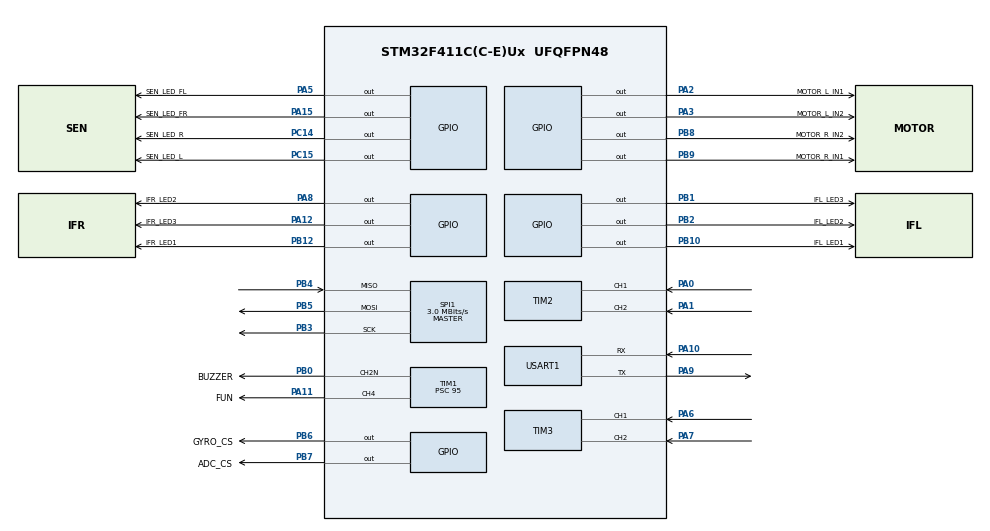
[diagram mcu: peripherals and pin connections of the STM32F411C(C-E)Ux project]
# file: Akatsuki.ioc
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Mcu.Family=STM32F4
Mcu.Name=STM32F411C(C-E)Ux
Mcu.Package=UFQFPN48
NVIC.PriorityGroup=NVIC_PRIORITYGROUP_4
NVIC.TIM1_UP_TIM10_IRQn=true\:0\:0\:false\:false\:true\:true\:true\:true
NVIC.TIM5_IRQn=true\:1\:0\:true\:false\:true\:true\:true\:true
PA0-WKUP.Signal=S_TIM2_CH1_ETR
PA1.Signal=S_TIM2_CH2
PA10.Mode=Asynchronous
PA10.Signal=USART1_RX
PA11.GPIO_Label=FUN
PA11.Signal=S_TIM1_CH4
PA12.GPIO_Label=IFR_LED3
PA12.Signal=GPIO_Output
PA13.Mode=Serial_Wire
PA13.Signal=SYS_JTMS-SWDIO
PA14.Mode=Serial_Wire
PA14.Signal=SYS_JTCK-SWCLK
PA15.GPIO_Label=SEN_LED_FR
PA15.GPIO_Speed=GPIO_SPEED_FREQ_HIGH
PA15.Signal=GPIO_Output
PA2.GPIO_Label=MOTOR_L_IN1
PA2.Signal=GPIO_Output
PA3.GPIO_Label=MOTOR_L_IN2
PA3.Signal=GPIO_Output
PA5.GPIO_Label=SEN_LED_FL
PA5.GPIO_Speed=GPIO_SPEED_FREQ_HIGH
PA5.Signal=GPIO_Output
PA6.Signal=S_TIM3_CH1
PA7.Signal=S_TIM3_CH2
PA8.GPIO_Label=IFR_LED2
PA8.Signal=GPIO_Output
PA9.Mode=Asynchronous
PA9.Signal=USART1_TX
PB0.GPIO_Label=BUZZER
PB0.Mode=PWM Generation2 CH2N
PB0.Signal=TIM1_CH2N
PB1.GPIO_Label=IFL_LED3
PB1.Signal=GPIO_Output
PB10.GPIO_Label=IFL_LED1
PB10.Signal=GPIO_Output
PB12.GPIO_Label=IFR_LED1
PB12.Signal=GPIO_Output
PB2.GPIO_Label=IFL_LED2
PB2.Signal=GPIO_Output
PB3.Mode=Full_Duplex_Master
PB3.Signal=SPI1_SCK
PB4.Mode=Full_Duplex_Master
PB4.Signal=SPI1_MISO
PB5.Mode=Full_Duplex_Master
PB5.Signal=SPI1_MOSI
PB6.GPIO_Label=GYRO_CS
PB6.Signal=GPIO_Output
PB7.GPIO_Label=ADC_CS
PB7.Signal=GPIO_Output
PB8.GPIO_Label=MOTOR_R_IN2
PB8.Signal=GPIO_Output
PB9.GPIO_Label=MOTOR_R_IN1
PB9.Signal=GPIO_Output
PC14-OSC32_IN.GPIO_Label=SEN_LED_R
PC14-OSC32_IN.Signal=GPIO_Output
PC15-OSC32_OUT.GPIO_Label=SEN_LED_L
PC15-OSC32_OUT.Signal=GPIO_Output
PH0\ -\ OSC_IN.Mode=HSE-External-Clock-Source
PH0\ -\ OSC_IN.Signal=RCC_OSC_IN
PH1\ -\ OSC_OUT.Mode=HSE-External-Clock-Source
PH1\ -\ OSC_OUT.Signal=RCC_OSC_OUT
ProjectManager.HeapSize=0x200
ProjectManager.StackSize=0x400
ProjectManager.TargetToolchain=STM32CubeIDE
RCC.AHBFreq_Value=96000000
RCC.APB1CLKDivider=RCC_HCLK_DIV2
RCC.APB1Freq_Value=48000000
RCC.APB1TimFreq_Value=96000000
RCC.APB2CLKDivider=RCC_HCLK_DIV2
RCC.APB2Freq_Value=48000000
RCC.APB2TimFreq_Value=96000000
RCC.CortexFreq_Value=96000000
RCC.HCLKFreq_Value=96000000
RCC.HSE_VALUE=25000000
RCC.HSI_VALUE=16000000
RCC.LSE_VALUE=32768
RCC.SYSCLKFreq_VALUE=96000000
RCC.SYSCLKSource=RCC_SYSCLKSOURCE_PLLCLK
RCC.VCOOutputFreq_Value=192000000
SH.S_TIM1_CH4.0=TIM1_CH4,PWM Generation4 CH4
SH.S_TIM2_CH1_ETR.0=TIM2_CH1,Encoder_Interface
SH.S_TIM2_CH2.0=TIM2_CH2,Encoder_Interface
SH.S_TIM3_CH1.0=TIM3_CH1,Encoder_Interface
SH.S_TIM3_CH2.0=TIM3_CH2,Encoder_Interface
SPI1.BaudRatePrescaler=SPI_BAUDRATEPRESCALER_16
SPI1.CLKPhase=SPI_PHASE_1EDGE
SPI1.CLKPolarity=SPI_POLARITY_LOW
SPI1.CalculateBaudRate=3.0 MBits/s
SPI1.Direction=SPI_DIRECTION_2LINES
SPI1.Mode=SPI_MODE_MASTER
SPI1.VirtualType=VM_MASTER
TIM1.AutoReloadPreload=TIM_AUTORELOAD_PRELOAD_ENABLE
TIM1.Channel-PWM\ Generation2\ CH2N=TIM_CHANNEL_2
TIM1.Channel-PWM\ Generation4\ CH4=TIM_CHANNEL_4
TIM1.OCMode_PWM-PWM\ Generation2\ CH2N=TIM_OCMODE_PWM1
TIM1.OCNPolarity_2=TIM_OCNPOLARITY_HIGH
TIM1.Prescaler=95
TIM1.Pulse-PWM\ Generation2\ CH2N=30000
TIM10.AutoReloadPreload=TIM_AUTORELOAD_PRELOAD_ENABLE
TIM10.Period=999
TIM10.Prescaler=95
TIM11.Period=99
TIM11.Prescaler=1
TIM4.AutoReloadPreload=TIM_AUTORELOAD_PRELOAD_DISABLE
TIM4.Period=1
TIM4.Prescaler=1
TIM5.AutoReloadPreload=TIM_AUTORELOAD_PRELOAD_ENABLE
TIM5.Channel-Output\ Compare1\ No\ Output=TIM_CHANNEL_1
TIM5.Channel-Output\ Compare2\ No\ Output=TIM_CHANNEL_2
TIM5.OC1Preload=ENABLE
TIM5.OC2Preload=ENABLE
TIM5.OCMode_1=TIM_OCMODE_TIMING
TIM5.OCMode_2=TIM_OCMODE_TIMING
TIM5.OCPolarity_1=TIM_OCPOLARITY_HIGH
TIM5.OCPolarity_2=TIM_OCPOLARITY_HIGH
TIM5.Period=199
TIM5.Prescaler=9
TIM5.Pulse-Output\ Compare1\ No\ Output=9
TIM5.Pulse-Output\ Compare2\ No\ Output=190
USART1.VirtualMode=VM_ASYNC
VP_TIM10_VS_ClockSourceINT.Mode=Enable_Timer
VP_TIM11_VS_ClockSourceINT.Mode=Enable_Timer
VP_TIM1_VS_ClockSourceINT.Mode=Internal
VP_TIM4_VS_ClockSourceITR.Mode=TriggerSource_ITR0
VP_TIM5_VS_ClockSourceINT.Mode=Internal
VP_TIM5_VS_no_output1.Mode=Output Compare1 No Output
VP_TIM5_VS_no_output2.Mode=Output Compare2 No Output
board=custom

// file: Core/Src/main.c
/* USER CODE BEGIN Header */
/**
  ******************************************************************************
  * @file           : main.c
  * @brief          : Main program body
  ******************************************************************************
  * @attention
  *
  * Copyright (c) 2023 STMicroelectronics.
  * All rights reserved.
  *
  * This software is licensed under terms that can be found in the LICENSE file
  * in the root directory of this software component.
  * If no LICENSE file comes with this software, it is provided AS-IS.
  *
  ******************************************************************************
  */
/* USER CODE END Header */
#include "main.h"
#include "spi.h"
#include "tim.h"
#include "usart.h"
#include "gpio.h"

/* USER CODE BEGIN Includes */

#include"System/s_task.h"

/* USER CODE END Includes */

void SystemClock_Config(void);

/* USER CODE BEGIN 0 */
int __io_putchar(int c) {
	if( c == '\n'){
		uint8_t _c = '\r';
		  LL_USART_TransmitData8(USART1, _c);
		  while(LL_USART_IsActiveFlag_TXE(USART1) == 0);
	}
	LL_USART_TransmitData8(USART1, (uint8_t)c);
	while(LL_USART_IsActiveFlag_TXE(USART1) == 0);
	return 0;
}

int _write(int file, char *ptr, int len) {
	int DataIdx;
	for (DataIdx = 0; DataIdx < len; DataIdx++)    {
		__io_putchar(*ptr);
		ITM_SendChar(*ptr++);
	}
	return len;
}
/* USER CODE END 0 */

int main(void)
{

  /* MCU Configuration--------------------------------------------------------*/

  /* Reset of all peripherals, Initializes the Flash interface and the Systick. */
  LL_APB2_GRP1_EnableClock(LL_APB2_GRP1_PERIPH_SYSCFG);
  LL_APB1_GRP1_EnableClock(LL_APB1_GRP1_PERIPH_PWR);

  /* System interrupt init*/
  NVIC_SetPriorityGrouping(NVIC_PRIORITYGROUP_4);

  /* SysTick_IRQn interrupt configuration */
  NVIC_SetPriority(SysTick_IRQn, NVIC_EncodePriority(NVIC_GetPriorityGrouping(),15, 0));

  /* Configure the system clock */
  SystemClock_Config();

  /* Initialize all configured peripherals */
  MX_GPIO_Init();
  MX_USART1_UART_Init();
  MX_SPI1_Init();
  MX_TIM1_Init();
  MX_TIM2_Init();
  MX_TIM3_Init();
  MX_TIM10_Init();
  MX_TIM11_Init();
  MX_TIM4_Init();
  MX_TIM5_Init();
  /* USER CODE BEGIN 2 */
  doInitializeTask();
  /* USER CODE END 2 */

  /* Infinite loop */
  while (1)
  {

    /* USER CODE BEGIN 3 */
	  doloopTask();
  }
  /* USER CODE END 3 */
}

void SystemClock_Config(void)
{
  LL_FLASH_SetLatency(LL_FLASH_LATENCY_3);
  while(LL_FLASH_GetLatency()!= LL_FLASH_LATENCY_3)
  {
  }
  LL_PWR_SetRegulVoltageScaling(LL_PWR_REGU_VOLTAGE_SCALE1);
  LL_RCC_HSI_SetCalibTrimming(16);
  LL_RCC_HSI_Enable();

   /* Wait till HSI is ready */
  while(LL_RCC_HSI_IsReady() != 1)
  {

  }
  LL_RCC_PLL_ConfigDomain_SYS(LL_RCC_PLLSOURCE_HSI, LL_RCC_PLLM_DIV_16, 192, LL_RCC_PLLP_DIV_2);
  LL_RCC_PLL_Enable();

   /* Wait till PLL is ready */
  while(LL_RCC_PLL_IsReady() != 1)
  {

  }
  while (LL_PWR_IsActiveFlag_VOS() == 0)
  {
  }
  LL_RCC_SetAHBPrescaler(LL_RCC_SYSCLK_DIV_1);
  LL_RCC_SetAPB1Prescaler(LL_RCC_APB1_DIV_2);
  LL_RCC_SetAPB2Prescaler(LL_RCC_APB2_DIV_2);
  LL_RCC_SetSysClkSource(LL_RCC_SYS_CLKSOURCE_PLL);

   /* Wait till System clock is ready */
  while(LL_RCC_GetSysClkSource() != LL_RCC_SYS_CLKSOURCE_STATUS_PLL)
  {

  }
  LL_Init1msTick(96000000);
  LL_SetSystemCoreClock(96000000);
  LL_RCC_SetTIMPrescaler(LL_RCC_TIM_PRESCALER_TWICE);
}

void Error_Handler(void)
{
  __disable_irq();
  while (1)
  {
  }
}
